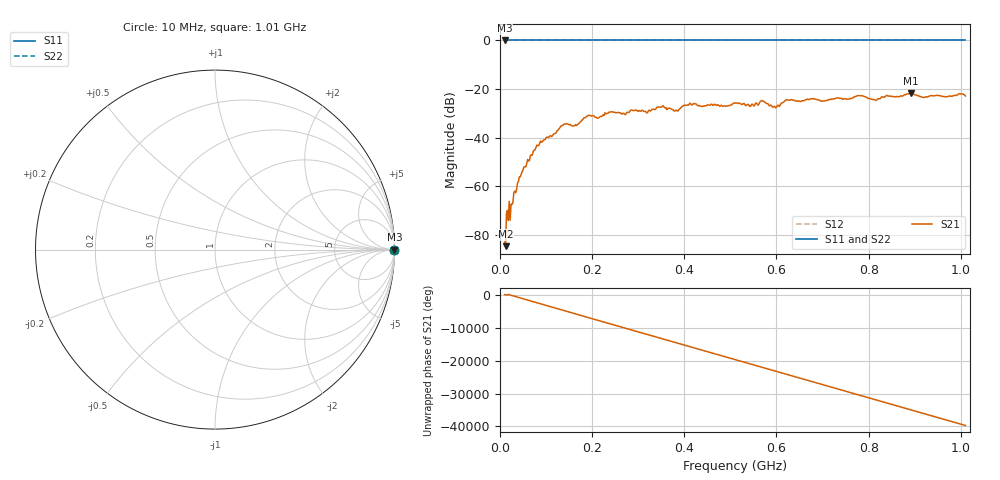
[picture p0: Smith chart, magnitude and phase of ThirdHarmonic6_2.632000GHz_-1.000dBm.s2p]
! 8/17/2025 5:53:39 AM
! C:\ANRITSUVNA\TEMP\TEMP.S2P
! CHANNEL.1
! TR.MEASUREMENT
! RAW.DATA
! RF.CORRECTION.OFF
! AVERAGING.OFF
! IF.BANDWIDTH: 5KHZ
! SWEEPTYPE:  FREQ.SWEEP(Linear)
! Reference Plane Port Info
! PORT:  PORT1  PORT2
! DISTANCE:  0  m  0  m
! TIME:  0  s  0  s
! PHASE.OFFSET:  0  deg.  0  deg.
! LOSS:  0  dB  0  dB
! REF.LOSS:  0  dB  0  dB
! REF.FREQ:  0  Hz  0  Hz
! Power Info
! POWER:  -20  dBm  -20  dBm
! EFF.POWER:  -20  dBm  -20  dBm
! SOURCE.ATTEN:  0  dB  0  dB
! TEST.ATTEN:  0  dB  0  dB
# GHZ S RI R 50.0
! FREQ.GHZ  S11RE  S11IM  S21RE  S21IM  S12RE  S12IM  S22RE  S22IM
!; PortSelection: Port_12
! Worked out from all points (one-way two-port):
!   501 points, 10 MHz to 1.01 GHz, reference 50 ohm
!   highest |S21| = -21.82 dB at 892 MHz (marker M1); lowest = -84.7 dB at 12 MHz (marker M2)
!   lowest |S11| = 0.0 dB at 10 MHz (marker M3)
!   |S11| at or under -10 dB: nowhere
!   |S22| runs from 0.0 to 0.0 dB; largest |S21 - S12| = 1.1
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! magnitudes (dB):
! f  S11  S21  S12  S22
! 10 MHz  0.0  -83.0  0.0  0.0
! 12 MHz  0.0  -84.7  0.0  0.0
! 42 MHz  0.0  -56.1  0.0  0.0
! 76 MHz  0.0  -45.1  0.0  0.0
! 136 MHz  0.0  -35.0  0.0  0.0
! 164 MHz  0.0  -34.6  0.0  0.0
! 178 MHz  0.0  -32.8  0.0  0.0
! 192 MHz  0.0  -30.9  0.0  0.0
! 344 MHz  0.0  -27.4  0.0  0.0
! 382 MHz  0.0  -28.7  0.0  0.0
! 416 MHz  0.0  -26.6  0.0  0.0
! 510 MHz  0.0  -25.8  0.0  0.0
! 546 MHz  0.0  -26.3  0.0  0.0
! 570 MHz  0.0  -24.9  0.0  0.0
! 596 MHz  0.0  -27.1  0.0  0.0
! 622 MHz  0.0  -24.4  0.0  0.0
! 678 MHz  0.0  -24.0  0.0  0.0
! 782 MHz  0.0  -22.7  0.0  0.0
! 814 MHz  0.0  -24.5  0.0  0.0
! 844 MHz  0.0  -22.9  0.0  0.0
! 892 MHz  0.0  -21.8  0.0  0.0
! 1.01 GHz  0.0  -22.8  0.0  0.0
